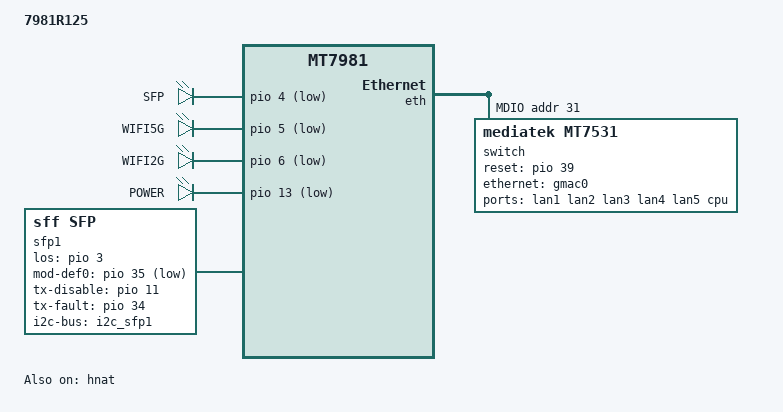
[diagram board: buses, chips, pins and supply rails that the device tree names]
// SPDX-License-Identifier: (GPL-2.0-or-later OR MIT)
/*
 * Copyright Zhaolaibin's SX-7981R128 Update By nanchuci
 */

/dts-v1/;
#include "mt7981-spim-nand-7981rxxx.dtsi"

/ {
	model = "7981R125";
	compatible = "mediatek,mt7981-spim-snand-7981r125";

	leds {
		compatible = "gpio-leds";

		SFP: sfp {
			label = "SFP";
			gpios = <&pio 4 GPIO_ACTIVE_LOW>;
			default-state = "off";
		};

		WIFI5G: wifi5g {
			label = "WIFI5G";
			gpios = <&pio 5 GPIO_ACTIVE_LOW>;
			default-state = "off";
		};

		WIFI2G: wifi2g {
			label = "WIFI2G";
			gpios = <&pio 6 GPIO_ACTIVE_LOW>;
			default-state = "off";
		};

		POWER: power {
			label = "POWER";
			gpios = <&pio 13 GPIO_ACTIVE_LOW>;
			default-state = "on";
		};
	};

	sfp1: sfp-wan {
		compatible = "sff,sfp";
		i2c-bus = <&i2c_sfp1>;
		los-gpios = <&pio 3 GPIO_ACTIVE_HIGH>;
		mod-def0-gpios = <&pio 35 GPIO_ACTIVE_LOW>;
		tx-disable-gpios = <&pio 11 GPIO_ACTIVE_HIGH>;
		tx-fault-gpios = <&pio 34 GPIO_ACTIVE_HIGH>;
		maximum-power-milliwatt = <3000>;
	};
};

&eth {
	status = "okay";

	gmac0: mac@0 {
		compatible = "mediatek,eth-mac";
		reg = <0>;
		phy-mode = "2500base-x";

		fixed-link {
			speed = <2500>;
			full-duplex;
			pause;
		};
	};

	gmac1: mac@1 {
		compatible = "mediatek,eth-mac";
		reg = <1>;
		phy-mode = "2500base-x";
		managed = "in-band-status";
		sfp = <&sfp1>;
	};

	mdio: mdio-bus {
		#address-cells = <1>;
		#size-cells = <0>;

		switch@0 {
			compatible = "mediatek,mt7531";
			reg = <31>;
			reset-gpios = <&pio 39 0>;

			ports {
				#address-cells = <1>;
				#size-cells = <0>;

				port@0 {
					reg = <0>;
					label = "lan1";
				};

				port@1 {
					reg = <1>;
					label = "lan2";
				};

				port@2 {
					reg = <2>;
					label = "lan3";
				};

				port@3 {
					reg = <3>;
					label = "lan4";
				};

				port@4 {
					reg = <4>;
					label = "lan5";
				};

				port@6 {
					reg = <6>;
					label = "cpu";
					ethernet = <&gmac0>;
					phy-mode = "2500base-x";

					fixed-link {
						speed = <2500>;
						full-duplex;
						pause;
					};
				};
			};
		};
	};
};

&hnat {
	mtketh-wan = "eth1";
	mtketh-lan = "lan";
	mtketh-max-gmac = <2>;
	ext-devices-prefix = "usb", "wwan", "rmnet";
	status = "okay";
};
